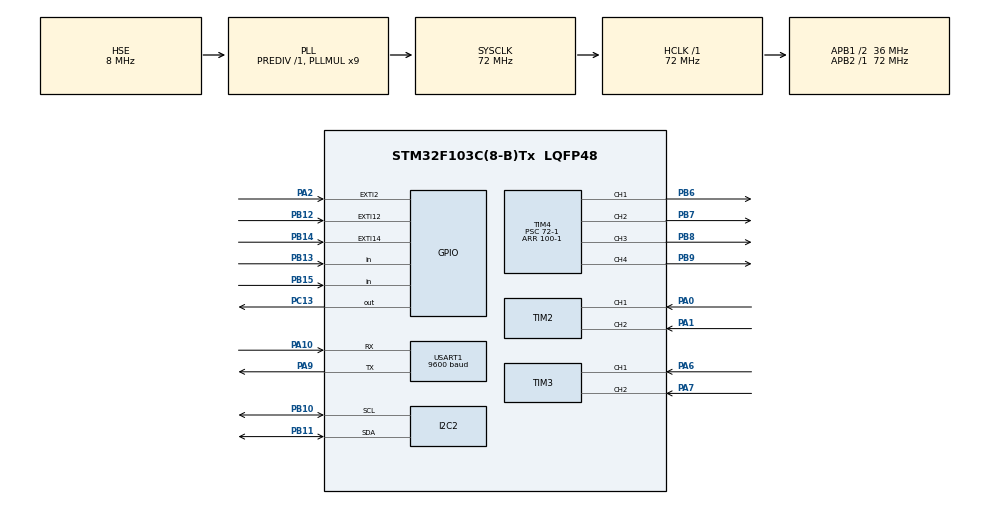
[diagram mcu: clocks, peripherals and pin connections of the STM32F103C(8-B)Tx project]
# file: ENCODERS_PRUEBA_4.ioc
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Mcu.Family=STM32F1
Mcu.Name=STM32F103C(8-B)Tx
Mcu.Package=LQFP48
NVIC.EXTI15_10_IRQn=true\:0\:0\:false\:false\:true\:true\:true
NVIC.EXTI2_IRQn=true\:0\:0\:false\:false\:true\:true\:true
NVIC.PriorityGroup=NVIC_PRIORITYGROUP_4
PA0-WKUP.Signal=S_TIM2_CH1_ETR
PA1.Signal=S_TIM2_CH2
PA10.Mode=Asynchronous
PA10.Signal=USART1_RX
PA13.Mode=Serial_Wire
PA13.Signal=SYS_JTMS-SWDIO
PA14.Mode=Serial_Wire
PA14.Signal=SYS_JTCK-SWCLK
PA2.Signal=GPXTI2
PA6.Signal=S_TIM3_CH1
PA7.Signal=S_TIM3_CH2
PA9.Mode=Asynchronous
PA9.Signal=USART1_TX
PB10.Mode=I2C
PB10.Signal=I2C2_SCL
PB11.Mode=I2C
PB11.Signal=I2C2_SDA
PB12.Signal=GPXTI12
PB13.Signal=GPIO_Input
PB14.Signal=GPXTI14
PB15.Signal=GPIO_Input
PB6.Signal=S_TIM4_CH1
PB7.Signal=S_TIM4_CH2
PB8.Signal=S_TIM4_CH3
PB9.Signal=S_TIM4_CH4
PC13-TAMPER-RTC.Signal=GPIO_Output
PC14-OSC32_IN.Mode=LSE-External-Oscillator
PC14-OSC32_IN.Signal=RCC_OSC32_IN
PC15-OSC32_OUT.Mode=LSE-External-Oscillator
PC15-OSC32_OUT.Signal=RCC_OSC32_OUT
PD0-OSC_IN.Mode=HSE-External-Oscillator
PD0-OSC_IN.Signal=RCC_OSC_IN
PD1-OSC_OUT.Mode=HSE-External-Oscillator
PD1-OSC_OUT.Signal=RCC_OSC_OUT
ProjectManager.HeapSize=0x200
ProjectManager.StackSize=0x400
ProjectManager.TargetToolchain=STM32CubeIDE
RCC.AHBFreq_Value=72000000
RCC.APB1CLKDivider=RCC_HCLK_DIV2
RCC.APB1Freq_Value=36000000
RCC.APB1TimFreq_Value=72000000
RCC.APB2Freq_Value=72000000
RCC.APB2TimFreq_Value=72000000
RCC.HCLKFreq_Value=72000000
RCC.PLLMUL=RCC_PLL_MUL9
RCC.PLLSourceVirtual=RCC_PLLSOURCE_HSE
RCC.SYSCLKFreq_VALUE=72000000
RCC.SYSCLKSource=RCC_SYSCLKSOURCE_PLLCLK
RCC.USBFreq_Value=72000000
SH.S_TIM2_CH1_ETR.0=TIM2_CH1,Encoder_Interface
SH.S_TIM2_CH2.0=TIM2_CH2,Encoder_Interface
SH.S_TIM3_CH1.0=TIM3_CH1,Encoder_Interface
SH.S_TIM3_CH2.0=TIM3_CH2,Encoder_Interface
SH.S_TIM4_CH1.0=TIM4_CH1,PWM Generation1 CH1
SH.S_TIM4_CH2.0=TIM4_CH2,PWM Generation2 CH2
SH.S_TIM4_CH3.0=TIM4_CH3,PWM Generation3 CH3
SH.S_TIM4_CH4.0=TIM4_CH4,PWM Generation4 CH4
TIM2.EncoderMode=TIM_ENCODERMODE_TI12
TIM3.EncoderMode=TIM_ENCODERMODE_TI12
TIM4.Channel-PWM\ Generation1\ CH1=TIM_CHANNEL_1
TIM4.Channel-PWM\ Generation2\ CH2=TIM_CHANNEL_2
TIM4.Channel-PWM\ Generation3\ CH3=TIM_CHANNEL_3
TIM4.Channel-PWM\ Generation4\ CH4=TIM_CHANNEL_4
TIM4.Period=100-1
TIM4.Prescaler=72-1
USART1.BaudRate=9600
USART1.VirtualMode=VM_ASYNC
board=custom

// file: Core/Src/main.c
/* USER CODE BEGIN Header */
/**
  ******************************************************************************
  * @file           : main.c
  * @brief          : Main program body
  ******************************************************************************
  * @attention
  *
  * <h2><center>&copy; Copyright (c) 2025 STMicroelectronics.
  * All rights reserved.</center></h2>
  *
  * This software component is licensed by ST under BSD 3-Clause license,
  * the "License"; You may not use this file except in compliance with the
  * License. You may obtain a copy of the License at:
  *                        opensource.org/licenses/BSD-3-Clause
  *
  ******************************************************************************
  */
/* USER CODE END Header */
#include "main.h"

/* USER CODE BEGIN Includes */
#include <stdio.h>
#include "string.h"
#include <stdlib.h>
#include <math.h>
/* USER CODE END Includes */

I2C_HandleTypeDef hi2c2;

TIM_HandleTypeDef htim2;
TIM_HandleTypeDef htim3;
TIM_HandleTypeDef htim4;

UART_HandleTypeDef huart1;

/* USER CODE BEGIN PV */
//IMU
#define MPU_ADDR         (0x69 << 1)
#define MAG_ADDR         (0x0C << 1)
#define ACCEL_XOUT_H     59
#define MAG_STATUS_1     2
#define MAG_HXL          3
#define MAG_OVERFLOW_BIT 0x08
#define MAG_DATA_READY   0x01

typedef struct {
	float AccXData;
	float AccYData;
	float AccZData;
	float Temp;
	float GyroXData;
	float GyroYData;
	float GyroZData;
	float MagXData;
	float MagYData;
	float MagZData;
} IMU_Data;

typedef struct {
    float offsetX;
    float offsetY;
    float offsetZ;
    float scaleX;
    float scaleY;
    float scaleZ;
} MagCalibration;

typedef struct {
    float offsetZ;
    float scaleZ;
} GyroCalibration;

//IMU
static volatile IMU_Data lecturasIMU;
uint16_t check_flags = 0;

volatile uint8_t mpu_data_ready;
static volatile float dt = 0.1f;

//Magnetometer
MagCalibration magCal;
uint8_t mad_calibrated = 0;
static volatile float heading;

//Girsocopio
static volatile float angle;

char msg[64];

//Giro
float heading_target = 100.0f;
uint8_t giro_completado = 0;

float kp = 1.5f, ki = 0.0f, kd = 0.0f;
float integral = 0.0f, prev_error = 0.0f;

//Fin Dron

extern volatile int32_t encoder3_count;
extern volatile int32_t encoder4_count;
volatile int32_t enc1 = 0;
volatile int32_t enc2 = 0;
uint8_t pwmValue = 80; //VALOR PWM
//uint8_t circunferenciaLlantaCM = 21.5; //Calculado con pi * diametro = pi*68.1mm
#define PULSOS_POR_VUELTA_ENC1 1968.75
#define PULSOS_POR_VUELTA_ENC2 1977
#define PULSOS_POR_VUELTA_ENC3 (492.63)
#define PULSOS_POR_VUELTA_ENC4 (512.25)
#define CIRCUNFERENCIA_LLANTA_CM 21.5  // o la que midas con regla

int32_t enc1_ini = 0;
int32_t enc2_ini = 0;
int32_t enc3_ini = 0;
int32_t enc4_ini = 0;

float avance1 = 0;
float avance2 = 0;
float avance3 = 0;
float avance4 = 0;

int32_t objetivo1 = 0;
int32_t objetivo2 = 0;
int32_t objetivo3 = 0;
int32_t objetivo4 = 0;

uint8_t data = 0b00001100;
char num[17] = "";
float distancia_cm = 100;//ALOR1bn DISTANCIA DESEADA EN CM   !!!!!!!!!!!!!!!!!!!!!!!!!!!!!!!!!!!!!!!!!!!!!!!!!!
uint8_t paso_actual = 0;
uint8_t total_pasos = 4;
uint8_t en_giro = 0;
uint32_t tiempo_inicio_giro = 0;
float angulo_inicio_giro = 0.0f;
float angulo_giro_actual = 0.0f;
float angulo_objetivo_giro =65.0f;  // Puedes cambiarlo a 45.0f, 180.0f, etc.
float heading_inicial = 0;
int8_t sentido_giro = 1; // 1 = izquierda, -1 = derecha

/* USER CODE END PV */

void SystemClock_Config(void);
static void MX_GPIO_Init(void);
static void MX_TIM2_Init(void);
static void MX_TIM3_Init(void);
static void MX_TIM4_Init(void);
static void MX_I2C2_Init(void);
static void MX_USART1_UART_Init(void);
/* USER CODE BEGIN PFP */
void actualizarAvances(void);
float calcularPromedioTrasero(void);
void moverMotores(uint8_t pwm);
void detenerMotores(void);
void enviarDistanciaPromedioUART(float promedio);
	//IMU
void Init_IMU(void);
IMU_Data GetData__stMPU_9255(void);
MagCalibration calibrate_magnetometer(uint16_t samples);
GyroCalibration calibrate_gyroZ(uint16_t samples);
IMU_Data ReadIMU_Average(uint8_t samples);
//Fin IMU
/* USER CODE END PFP */

/* USER CODE BEGIN 0 */
volatile int32_t encoder3_count = 0;
volatile int32_t encoder4_count = 0;

/* USER CODE END 0 */

int main(void)
{

  /* MCU Configuration--------------------------------------------------------*/

  /* Reset of all peripherals, Initializes the Flash interface and the Systick. */
  HAL_Init();

  /* Configure the system clock */
  SystemClock_Config();

  /* Initialize all configured peripherals */
  MX_GPIO_Init();
  MX_TIM2_Init();
  MX_TIM3_Init();
  MX_TIM4_Init();
  MX_I2C2_Init();
  MX_USART1_UART_Init();
  /* USER CODE BEGIN 2 */

  //IMU
  HAL_Delay(100);
  HAL_GPIO_WritePin(GPIOC, GPIO_PIN_13, RESET);
  HAL_Delay(100);
  HAL_GPIO_WritePin(GPIOC, GPIO_PIN_13, SET);
  HAL_Delay(100);
  HAL_GPIO_WritePin(GPIOC, GPIO_PIN_13, RESET);
  HAL_Delay(100);

  Init_IMU();
  HAL_Delay(100);
  GyroCalibration gyroCal = calibrate_gyroZ(500);
  HAL_Delay(100);
  HAL_GPIO_WritePin(GPIOC, GPIO_PIN_13, RESET);
  HAL_Delay(100);
  HAL_GPIO_WritePin(GPIOC, GPIO_PIN_13, SET);
  HAL_Delay(100);
  HAL_GPIO_WritePin(GPIOC, GPIO_PIN_13, RESET);
  HAL_Delay(100);
  HAL_GPIO_WritePin(GPIOC, GPIO_PIN_13, SET);
  HAL_Delay(100);
  HAL_GPIO_WritePin(GPIOC, GPIO_PIN_13, RESET);

  magCal = calibrate_magnetometer(500);

  //Calcular Heading Inicial
  lecturasIMU = GetData__stMPU_9255();
  float mx = (lecturasIMU.MagXData - magCal.offsetX) / magCal.scaleX;
  float my = (lecturasIMU.MagYData - magCal.offsetY) / magCal.scaleY;
  float norm = sqrtf(mx * mx + my * my);
  mx /= norm;
  my /= norm;

  float heading_inicial = atan2f(my, mx) * (180.0f / M_PI);
  if (heading_inicial < 0) heading_inicial += 360.0f;

  // Objetivo: 90 grados más
  heading_target = heading_inicial + 90.0f;
  if (heading_target >= 360.0f) heading_target -= 360.0f;
  //fin imu

  HAL_TIM_Encoder_Start(&htim2, TIM_CHANNEL_ALL);
  HAL_TIM_Encoder_Start(&htim3, TIM_CHANNEL_ALL);
  HAL_TIM_PWM_Start(&htim4, TIM_CHANNEL_1);
  HAL_TIM_PWM_Start(&htim4, TIM_CHANNEL_2);
  HAL_TIM_PWM_Start(&htim4, TIM_CHANNEL_3);
  HAL_TIM_PWM_Start(&htim4, TIM_CHANNEL_4);
  __HAL_TIM_SET_COMPARE(&htim4,TIM_CHANNEL_1,0);
  __HAL_TIM_SET_COMPARE(&htim4,TIM_CHANNEL_2,0);
  __HAL_TIM_SET_COMPARE(&htim4,TIM_CHANNEL_3,0);
  __HAL_TIM_SET_COMPARE(&htim4,TIM_CHANNEL_4,0);
  // Leer posición inicial
  enc1_ini = __HAL_TIM_GET_COUNTER(&htim2); // Encoder 1
  enc2_ini = __HAL_TIM_GET_COUNTER(&htim3); // Encoder 2
  enc3_ini = encoder3_count; // Encoder 3 por interrupción
  enc4_ini = encoder4_count; // Encoder 4 por interrupción

  objetivo1 = distancia_cm;  //Calcular pulsos
  objetivo2 = distancia_cm;
  objetivo3 = distancia_cm;
  objetivo4 = distancia_cm;

  //ELIMINARRRRR DESPUESSSS LO DE ABAJO DE WRITEPINES

  /* USER CODE END 2 */

  /* Infinite loop */
  /* USER CODE BEGIN WHILE */

enc1_ini = __HAL_TIM_GET_COUNTER(&htim2); // Usa TIM2 o el que te interese

while (1)
{
    HAL_GPIO_TogglePin(GPIOC, GPIO_PIN_13);
    lecturasIMU = ReadIMU_Average(10);  // ← 10 lecturas → dt = 0.1 s

    // GIROSCOPIO Y MAGNETÓMETRO
    float gz = (lecturasIMU.GyroZData - gyroCal.offsetZ) / gyroCal.scaleZ;
    gz *= 0.00763f; // Convierte a grados por segundo

    float mx = (lecturasIMU.MagXData - magCal.offsetX) / magCal.scaleX;
    float my = (lecturasIMU.MagYData - magCal.offsetY) / magCal.scaleY;
    float mz = (lecturasIMU.MagZData - magCal.offsetZ) / magCal.scaleZ;

    float norm = sqrtf(mx * mx + my * my + mz * mz);
    if (norm != 0.0f) {
        mx /= norm;
        my /= norm;
        mz /= norm;
    }

    // Cálculo de heading solo informativo (ya no se usa para el giro)
    heading = atan2f(my, mx) * (180.0f / M_PI);
    if (heading < 0) heading += 360.0f;

    actualizarAvances();
    float promedio_cm = calcularPromedioTrasero();

    if (!en_giro) {
        if (promedio_cm < distancia_cm) {
            moverMotores(pwmValue);
        } else {
            detenerMotores();
            en_giro = 1;
            // Fijar dirección de giro manualmente por paso
            if (paso_actual == 0 || paso_actual == 1 || paso_actual == 2 || paso_actual == 3) {
                sentido_giro = 1; // izquierda
            } else {
                sentido_giro = -1; // derecha si algún día quisieras probar
            }

            // Reiniciar ángulo
            angulo_giro_actual = 0.0f;
            tiempo_inicio_giro = HAL_GetTick();

            // Reiniciar integración del giro
            angulo_giro_actual = 0.0f;

            tiempo_inicio_giro = HAL_GetTick();
        }
    } else {
        // 1. Integrar ángulo girado con giroscopio
        angulo_giro_actual += gz * dt;

        // 2. Calcular cuánto falta para completar los 90°
        float error_giro = angulo_objetivo_giro - fabs(angulo_giro_actual);

        if (fabs(error_giro) > 3.0f) {
            // Gira en el sentido adecuado
        	if (sentido_giro == 1) {
        	    // Gira izquierda
        	    __HAL_TIM_SET_COMPARE(&htim4, TIM_CHANNEL_1, pwmValue);
        	    __HAL_TIM_SET_COMPARE(&htim4, TIM_CHANNEL_2, 0);
        	    __HAL_TIM_SET_COMPARE(&htim4, TIM_CHANNEL_3, pwmValue);
        	    __HAL_TIM_SET_COMPARE(&htim4, TIM_CHANNEL_4, 0);
        	} else {
        	    // Gira derecha
        	    __HAL_TIM_SET_COMPARE(&htim4, TIM_CHANNEL_1, 0);
        	    __HAL_TIM_SET_COMPARE(&htim4, TIM_CHANNEL_2, pwmValue);
        	    __HAL_TIM_SET_COMPARE(&htim4, TIM_CHANNEL_3, 0);
        	    __HAL_TIM_SET_COMPARE(&htim4, TIM_CHANNEL_4, pwmValue);
        	}

        } else {
            // Giro completado
            detenerMotores();

            // Esperar 10 segundos
            if (HAL_GetTick() - tiempo_inicio_giro >= 10000) {
                paso_actual++;
                if (paso_actual >= total_pasos) {
                    // Terminó el cuadrado
                    while (1); // Se queda detenido
                }

                // Reiniciar variables de avance
                enc3_ini = encoder3_count;
                enc4_ini = encoder4_count;
                avance3 = 0;
                avance4 = 0;
                en_giro = 0;
            }
        }
    }

    HAL_Delay(10); // para mantener tiempo de ciclo estable
}

    /* USER CODE END WHILE */

}

void SystemClock_Config(void)
{
  RCC_OscInitTypeDef RCC_OscInitStruct = {0};
  RCC_ClkInitTypeDef RCC_ClkInitStruct = {0};

  /** Initializes the RCC Oscillators according to the specified parameters
  * in the RCC_OscInitTypeDef structure.
  */
  RCC_OscInitStruct.OscillatorType = RCC_OSCILLATORTYPE_HSE;
  RCC_OscInitStruct.HSEState = RCC_HSE_ON;
  RCC_OscInitStruct.HSEPredivValue = RCC_HSE_PREDIV_DIV1;
  RCC_OscInitStruct.HSIState = RCC_HSI_ON;
  RCC_OscInitStruct.PLL.PLLState = RCC_PLL_ON;
  RCC_OscInitStruct.PLL.PLLSource = RCC_PLLSOURCE_HSE;
  RCC_OscInitStruct.PLL.PLLMUL = RCC_PLL_MUL9;
  if (HAL_RCC_OscConfig(&RCC_OscInitStruct) != HAL_OK)
  {
    Error_Handler();
  }
  /** Initializes the CPU, AHB and APB buses clocks
  */
  RCC_ClkInitStruct.ClockType = RCC_CLOCKTYPE_HCLK|RCC_CLOCKTYPE_SYSCLK
                              |RCC_CLOCKTYPE_PCLK1|RCC_CLOCKTYPE_PCLK2;
  RCC_ClkInitStruct.SYSCLKSource = RCC_SYSCLKSOURCE_PLLCLK;
  RCC_ClkInitStruct.AHBCLKDivider = RCC_SYSCLK_DIV1;
  RCC_ClkInitStruct.APB1CLKDivider = RCC_HCLK_DIV2;
  RCC_ClkInitStruct.APB2CLKDivider = RCC_HCLK_DIV1;

  if (HAL_RCC_ClockConfig(&RCC_ClkInitStruct, FLASH_LATENCY_2) != HAL_OK)
  {
    Error_Handler();
  }
}

static void MX_I2C2_Init(void)
{

  hi2c2.Instance = I2C2;
  hi2c2.Init.ClockSpeed = 100000;
  hi2c2.Init.DutyCycle = I2C_DUTYCYCLE_2;
  hi2c2.Init.OwnAddress1 = 0;
  hi2c2.Init.AddressingMode = I2C_ADDRESSINGMODE_7BIT;
  hi2c2.Init.DualAddressMode = I2C_DUALADDRESS_DISABLE;
  hi2c2.Init.OwnAddress2 = 0;
  hi2c2.Init.GeneralCallMode = I2C_GENERALCALL_DISABLE;
  hi2c2.Init.NoStretchMode = I2C_NOSTRETCH_DISABLE;
  if (HAL_I2C_Init(&hi2c2) != HAL_OK)
  {
    Error_Handler();
  }

}

static void MX_TIM2_Init(void)
{

  TIM_Encoder_InitTypeDef sConfig = {0};
  TIM_MasterConfigTypeDef sMasterConfig = {0};

  htim2.Instance = TIM2;
  htim2.Init.Prescaler = 0;
  htim2.Init.CounterMode = TIM_COUNTERMODE_UP;
  htim2.Init.Period = 65535;
  htim2.Init.ClockDivision = TIM_CLOCKDIVISION_DIV1;
  htim2.Init.AutoReloadPreload = TIM_AUTORELOAD_PRELOAD_DISABLE;
  sConfig.EncoderMode = TIM_ENCODERMODE_TI12;
  sConfig.IC1Polarity = TIM_ICPOLARITY_RISING;
  sConfig.IC1Selection = TIM_ICSELECTION_DIRECTTI;
  sConfig.IC1Prescaler = TIM_ICPSC_DIV1;
  sConfig.IC1Filter = 0;
  sConfig.IC2Polarity = TIM_ICPOLARITY_RISING;
  sConfig.IC2Selection = TIM_ICSELECTION_DIRECTTI;
  sConfig.IC2Prescaler = TIM_ICPSC_DIV1;
  sConfig.IC2Filter = 0;
  if (HAL_TIM_Encoder_Init(&htim2, &sConfig) != HAL_OK)
  {
    Error_Handler();
  }
  sMasterConfig.MasterOutputTrigger = TIM_TRGO_RESET;
  sMasterConfig.MasterSlaveMode = TIM_MASTERSLAVEMODE_DISABLE;
  if (HAL_TIMEx_MasterConfigSynchronization(&htim2, &sMasterConfig) != HAL_OK)
  {
    Error_Handler();
  }

}

static void MX_TIM3_Init(void)
{

  TIM_Encoder_InitTypeDef sConfig = {0};
  TIM_MasterConfigTypeDef sMasterConfig = {0};

  htim3.Instance = TIM3;
  htim3.Init.Prescaler = 0;
  htim3.Init.CounterMode = TIM_COUNTERMODE_UP;
  htim3.Init.Period = 65535;
  htim3.Init.ClockDivision = TIM_CLOCKDIVISION_DIV1;
  htim3.Init.AutoReloadPreload = TIM_AUTORELOAD_PRELOAD_DISABLE;
  sConfig.EncoderMode = TIM_ENCODERMODE_TI12;
  sConfig.IC1Polarity = TIM_ICPOLARITY_RISING;
  sConfig.IC1Selection = TIM_ICSELECTION_DIRECTTI;
  sConfig.IC1Prescaler = TIM_ICPSC_DIV1;
  sConfig.IC1Filter = 0;
  sConfig.IC2Polarity = TIM_ICPOLARITY_RISING;
  sConfig.IC2Selection = TIM_ICSELECTION_DIRECTTI;
  sConfig.IC2Prescaler = TIM_ICPSC_DIV1;
  sConfig.IC2Filter = 0;
  if (HAL_TIM_Encoder_Init(&htim3, &sConfig) != HAL_OK)
  {
    Error_Handler();
  }
  sMasterConfig.MasterOutputTrigger = TIM_TRGO_RESET;
  sMasterConfig.MasterSlaveMode = TIM_MASTERSLAVEMODE_DISABLE;
  if (HAL_TIMEx_MasterConfigSynchronization(&htim3, &sMasterConfig) != HAL_OK)
  {
    Error_Handler();
  }

}

static void MX_TIM4_Init(void)
{

  TIM_MasterConfigTypeDef sMasterConfig = {0};
  TIM_OC_InitTypeDef sConfigOC = {0};

  htim4.Instance = TIM4;
  htim4.Init.Prescaler = 72-1;
  htim4.Init.CounterMode = TIM_COUNTERMODE_UP;
  htim4.Init.Period = 100-1;
  htim4.Init.ClockDivision = TIM_CLOCKDIVISION_DIV1;
  htim4.Init.AutoReloadPreload = TIM_AUTORELOAD_PRELOAD_DISABLE;
  if (HAL_TIM_PWM_Init(&htim4) != HAL_OK)
  {
    Error_Handler();
  }
  sMasterConfig.MasterOutputTrigger = TIM_TRGO_RESET;
  sMasterConfig.MasterSlaveMode = TIM_MASTERSLAVEMODE_DISABLE;
  if (HAL_TIMEx_MasterConfigSynchronization(&htim4, &sMasterConfig) != HAL_OK)
  {
    Error_Handler();
  }
  sConfigOC.OCMode = TIM_OCMODE_PWM1;
  sConfigOC.Pulse = 0;
  sConfigOC.OCPolarity = TIM_OCPOLARITY_HIGH;
  sConfigOC.OCFastMode = TIM_OCFAST_DISABLE;
  if (HAL_TIM_PWM_ConfigChannel(&htim4, &sConfigOC, TIM_CHANNEL_1) != HAL_OK)
  {
    Error_Handler();
  }
  if (HAL_TIM_PWM_ConfigChannel(&htim4, &sConfigOC, TIM_CHANNEL_2) != HAL_OK)
  {
    Error_Handler();
  }
  if (HAL_TIM_PWM_ConfigChannel(&htim4, &sConfigOC, TIM_CHANNEL_3) != HAL_OK)
  {
    Error_Handler();
  }
  if (HAL_TIM_PWM_ConfigChannel(&htim4, &sConfigOC, TIM_CHANNEL_4) != HAL_OK)
  {
    Error_Handler();
  }
  HAL_TIM_MspPostInit(&htim4);

}

static void MX_USART1_UART_Init(void)
{

  huart1.Instance = USART1;
  huart1.Init.BaudRate = 9600;
  huart1.Init.WordLength = UART_WORDLENGTH_8B;
  huart1.Init.StopBits = UART_STOPBITS_1;
  huart1.Init.Parity = UART_PARITY_NONE;
  huart1.Init.Mode = UART_MODE_TX_RX;
  huart1.Init.HwFlowCtl = UART_HWCONTROL_NONE;
  huart1.Init.OverSampling = UART_OVERSAMPLING_16;
  if (HAL_UART_Init(&huart1) != HAL_OK)
  {
    Error_Handler();
  }

}

static void MX_GPIO_Init(void)
{
  GPIO_InitTypeDef GPIO_InitStruct = {0};

  /* GPIO Ports Clock Enable */
  __HAL_RCC_GPIOC_CLK_ENABLE();
  __HAL_RCC_GPIOD_CLK_ENABLE();
  __HAL_RCC_GPIOA_CLK_ENABLE();
  __HAL_RCC_GPIOB_CLK_ENABLE();

  /*Configure GPIO pin Output Level */
  HAL_GPIO_WritePin(GPIOC, GPIO_PIN_13, GPIO_PIN_RESET);

  /*Configure GPIO pin : PC13 */
  GPIO_InitStruct.Pin = GPIO_PIN_13;
  GPIO_InitStruct.Mode = GPIO_MODE_OUTPUT_PP;
  GPIO_InitStruct.Pull = GPIO_NOPULL;
  GPIO_InitStruct.Speed = GPIO_SPEED_FREQ_LOW;
  HAL_GPIO_Init(GPIOC, &GPIO_InitStruct);

  /*Configure GPIO pin : PA2 */
  GPIO_InitStruct.Pin = GPIO_PIN_2;
  GPIO_InitStruct.Mode = GPIO_MODE_IT_RISING;
  GPIO_InitStruct.Pull = GPIO_NOPULL;
  HAL_GPIO_Init(GPIOA, &GPIO_InitStruct);

  /*Configure GPIO pins : PB12 PB14 */
  GPIO_InitStruct.Pin = GPIO_PIN_12|GPIO_PIN_14;
  GPIO_InitStruct.Mode = GPIO_MODE_IT_RISING;
  GPIO_InitStruct.Pull = GPIO_NOPULL;
  HAL_GPIO_Init(GPIOB, &GPIO_InitStruct);

  /*Configure GPIO pins : PB13 PB15 */
  GPIO_InitStruct.Pin = GPIO_PIN_13|GPIO_PIN_15;
  GPIO_InitStruct.Mode = GPIO_MODE_INPUT;
  GPIO_InitStruct.Pull = GPIO_NOPULL;
  HAL_GPIO_Init(GPIOB, &GPIO_InitStruct);

  /* EXTI interrupt init*/
  HAL_NVIC_SetPriority(EXTI2_IRQn, 0, 0);
  HAL_NVIC_EnableIRQ(EXTI2_IRQn);

  HAL_NVIC_SetPriority(EXTI15_10_IRQn, 0, 0);
  HAL_NVIC_EnableIRQ(EXTI15_10_IRQn);

}

/* USER CODE BEGIN 4 */
void actualizarAvances(void) {
    enc1 = __HAL_TIM_GET_COUNTER(&htim2);
    enc2 = __HAL_TIM_GET_COUNTER(&htim3);

    avance1 = (float)(abs(enc1 - enc1_ini)) / PULSOS_POR_VUELTA_ENC1 * CIRCUNFERENCIA_LLANTA_CM;
    avance2 = (float)(abs(enc2 - enc2_ini)) / PULSOS_POR_VUELTA_ENC2 * CIRCUNFERENCIA_LLANTA_CM;
    avance3 = (float)(abs(encoder3_count - enc3_ini)) / PULSOS_POR_VUELTA_ENC3 * CIRCUNFERENCIA_LLANTA_CM;
    avance4 = (float)(abs(encoder4_count - enc4_ini)) / PULSOS_POR_VUELTA_ENC4 * CIRCUNFERENCIA_LLANTA_CM;
}

float calcularPromedioTrasero(void) {
    return (avance3 + avance4) / 2.0f;
}

void moverMotores(uint8_t pwm) {
    __HAL_TIM_SET_COMPARE(&htim4, TIM_CHANNEL_1, pwm);         // Delantera derecha
    __HAL_TIM_SET_COMPARE(&htim4, TIM_CHANNEL_2, pwm + 3.17);  // Delantera izquierda
    __HAL_TIM_SET_COMPARE(&htim4, TIM_CHANNEL_3, pwm);         // Trasera derecha
    __HAL_TIM_SET_COMPARE(&htim4, TIM_CHANNEL_4, pwm + 3.17);  // Trasera izquierda
}

void detenerMotores(void) {
    __HAL_TIM_SET_COMPARE(&htim4, TIM_CHANNEL_1, 0);
    __HAL_TIM_SET_COMPARE(&htim4, TIM_CHANNEL_2, 0);
    __HAL_TIM_SET_COMPARE(&htim4, TIM_CHANNEL_3, 0);
    __HAL_TIM_SET_COMPARE(&htim4, TIM_CHANNEL_4, 0);
}

void Init_IMU(void) {
    uint8_t data_tx[2], reg, val;
    uint8_t asa[3] = {0};
    uint8_t dev_addr = MPU_ADDR;    // 0x69 << 1
    uint8_t mag_addr = MAG_ADDR;    // 0x0C << 1

    // 0. Reset MPU
    data_tx[0] = 0x6B; data_tx[1] = 0x80;
    if (HAL_I2C_Master_Transmit(&hi2c2, dev_addr, data_tx, 2, 100) == HAL_OK) {
        HAL_Delay(100);
        check_flags |= (1 << 0);
    }

    // 1. Clock source = PLL with X axis gyroscope
    data_tx[0] = 0x6B; data_tx[1] = 0x01;
    if (HAL_I2C_Master_Transmit(&hi2c2, dev_addr, data_tx, 2, 100) == HAL_OK)
        check_flags |= (1 << 1);

    // 2. Gyroscope config = ±250°/s
    data_tx[0] = 0x1B; data_tx[1] = 0x00;
    if (HAL_I2C_Master_Transmit(&hi2c2, dev_addr, data_tx, 2, 100) == HAL_OK)
        check_flags |= (1 << 2);

    // 3. Accelerometer config = ±2g
    data_tx[0] = 0x1C; data_tx[1] = 0x00;
    if (HAL_I2C_Master_Transmit(&hi2c2, dev_addr, data_tx, 2, 100) == HAL_OK)
        check_flags |= (1 << 3);

    // 4. Enable I2C bypass mode (talk directly to magnetometer)
    data_tx[0] = 0x37; data_tx[1] = 0x02;
    if (HAL_I2C_Master_Transmit(&hi2c2, dev_addr, data_tx, 2, 100) == HAL_OK) {
        HAL_Delay(10);
        check_flags |= (1 << 4);
    }

    // 5. Power down magnetometer
    data_tx[0] = 0x0A; data_tx[1] = 0x00;
    if (HAL_I2C_Master_Transmit(&hi2c2, mag_addr, data_tx, 2, 100) == HAL_OK) {
        HAL_Delay(10);
        check_flags |= (1 << 5);
    }

    // 6. Enter fuse ROM access mode
    data_tx[0] = 0x0A; data_tx[1] = 0x0F;
    if (HAL_I2C_Master_Transmit(&hi2c2, mag_addr, data_tx, 2, 100) == HAL_OK) {
        HAL_Delay(10);
        check_flags |= (1 << 6);
    }

    // 7. Read sensitivity adjustment values (ASA)
    reg = 0x10;
    if (HAL_I2C_Master_Transmit(&hi2c2, mag_addr, &reg, 1, 100) == HAL_OK &&
        HAL_I2C_Master_Receive(&hi2c2, mag_addr, asa, 3, 100) == HAL_OK) {
        check_flags |= (1 << 7);
    }

    // 8. Power down again
    data_tx[0] = 0x0A; data_tx[1] = 0x00;
    if (HAL_I2C_Master_Transmit(&hi2c2, mag_addr, data_tx, 2, 100) == HAL_OK) {
        HAL_Delay(10);
        check_flags |= (1 << 8);
    }

    // 9. Set magnetometer to continuous mode 2 (100Hz, 16-bit)
    uint8_t mode_ok = 0;
    for (int i = 0; i < 5; i++) {
        data_tx[0] = 0x0A; data_tx[1] = 0x16;
        HAL_I2C_Master_Transmit(&hi2c2, mag_addr, data_tx, 2, 100);
        HAL_Delay(10);
        reg = 0x0A;
        HAL_I2C_Master_Transmit(&hi2c2, mag_addr, &reg, 1, 100);
        HAL_I2C_Master_Receive(&hi2c2, mag_addr, &val, 1, 100);
        if (val == 0x16) {
            mode_ok = 1;
            break;
        }
    }
    if (mode_ok)
        check_flags |= (1 << 9);

    // 10. Confirm ST1 register responds
    reg = 0x02;
    if (HAL_I2C_Master_Transmit(&hi2c2, mag_addr, &reg, 1, 100) == HAL_OK &&
        HAL_I2C_Master_Receive(&hi2c2, mag_addr, &val, 1, 100) == HAL_OK) {
        check_flags |= (1 << 10);
    }

    // 11. Enable RAW_RDY_EN interrupt (enable data ready interrupt)
    val = 0x01;  // Bit 0 = RAW_RDY_EN
    HAL_I2C_Mem_Write(&hi2c2, MPU_ADDR, 0x38, 1, &val, 1, 100);

    // 12. Configure INT pin: active LOW, open-drain, pulse mode (not latch)

    val = 0x12; // 0x10 (active low) + 0x02 (bypass enabled)
    HAL_I2C_Mem_Write(&hi2c2, MPU_ADDR, 0x37, 1, &val, 1, 100);

    // 13. CONFIG (DLPF) = 3 (Accel/Gyro ~44Hz BW, 1kHz sample)
    data_tx[0] = 0x1A; data_tx[1] = 0x03;
    HAL_I2C_Master_Transmit(&hi2c2, MPU_ADDR, data_tx, 2, 100);

    // 14. SMPLRT_DIV = 9 → 1kHz / (1+9) = 100Hz output rate
    data_tx[0] = 0x19; data_tx[1] = 9;
    HAL_I2C_Master_Transmit(&hi2c2, MPU_ADDR, data_tx, 2, 100);
}

IMU_Data GetData__stMPU_9255(void) {
	uint8_t imuData[14] = {0};
	uint8_t magData[7] = {0};
	uint8_t status1 = 0;
	uint8_t reg;
	int16_t raw[10] = {0};
	IMU_Data result;

	// Leer 14 bytes: accel, temp, gyro
	reg = ACCEL_XOUT_H;
	HAL_I2C_Master_Transmit(&hi2c2, MPU_ADDR, &reg, 1, HAL_MAX_DELAY);
	HAL_I2C_Master_Receive(&hi2c2, MPU_ADDR, imuData, 14, HAL_MAX_DELAY);

	raw[0] = (imuData[0] << 8) | imuData[1];  // AccX
	raw[1] = (imuData[2] << 8) | imuData[3];  // AccY
	raw[2] = (imuData[4] << 8) | imuData[5];  // AccZ
	raw[3] = (imuData[6] << 8) | imuData[7];  // Temp
	raw[4] = (imuData[8] << 8) | imuData[9];  // GyroX
	raw[5] = (imuData[10] << 8) | imuData[11]; // GyroY
	raw[6] = (imuData[12] << 8) | imuData[13]; // GyroZ

	HAL_Delay(10);
	// Verifica si hay datos magnéticos listos
	reg = MAG_STATUS_1;
	HAL_I2C_Master_Transmit(&hi2c2, MAG_ADDR, &reg, 1, HAL_MAX_DELAY);
	HAL_I2C_Master_Receive(&hi2c2, MAG_ADDR, &status1, 1, HAL_MAX_DELAY);

	if ((status1 & MAG_DATA_READY) == MAG_DATA_READY) {
		// Leer datos magnéticos (6 + 1 bytes: HOFL)
		reg = MAG_HXL;
		HAL_I2C_Master_Transmit(&hi2c2, MAG_ADDR, &reg, 1, HAL_MAX_DELAY);
		HAL_I2C_Master_Receive(&hi2c2, MAG_ADDR, magData, 7, HAL_MAX_DELAY);

		// Si no hay overflow
		if (!(magData[6] & MAG_OVERFLOW_BIT)) {
			raw[7] = (magData[1] << 8) | magData[0]; // MagX
			raw[8] = (magData[3] << 8) | magData[2]; // MagY
			raw[9] = (magData[5] << 8) | magData[4]; // MagZ
		}
	}

	// Copiar a estructura
	result.AccXData  = (float)raw[0];
	result.AccYData  = (float)raw[1];
	result.AccZData  = (float)raw[2];
	result.Temp      = (float)raw[3];
	result.GyroXData = (float)raw[4];
	result.GyroYData = (float)raw[5];
	result.GyroZData = (float)raw[6];
	result.MagXData  = (float)raw[7];
	result.MagYData  = (float)raw[8];
	result.MagZData  = (float)raw[9];

	return result;
}

MagCalibration calibrate_magnetometer(uint16_t samples) {
    float minX =  32767, minY =  32767, minZ =  32767;
    float maxX = -32768, maxY = -32768, maxZ = -32768;

    for (uint16_t i = 0; i < samples; i++) {
        IMU_Data lectura = GetData__stMPU_9255();

        if (lectura.MagXData < minX) minX = lectura.MagXData;
        if (lectura.MagYData < minY) minY = lectura.MagYData;
        if (lectura.MagZData < minZ) minZ = lectura.MagZData;

        if (lectura.MagXData > maxX) maxX = lectura.MagXData;
        if (lectura.MagYData > maxY) maxY = lectura.MagYData;
        if (lectura.MagZData > maxZ) maxZ = lectura.MagZData;

        HAL_Delay(10);
    }

    MagCalibration result;
    result.offsetX = (maxX + minX) / 2.0f;
    result.offsetY = (maxY + minY) / 2.0f;
    result.offsetZ = (maxZ + minZ) / 2.0f;

    result.scaleX = (maxX - minX) / 2.0f;
    result.scaleY = (maxY - minY) / 2.0f;
    result.scaleZ = (maxZ - minZ) / 2.0f;

    return result;
}

GyroCalibration calibrate_gyroZ(uint16_t samples) {
    float minZ =  32767;
    float maxZ = -32768;
    float sumZ = 0;

    for (uint16_t i = 0; i < samples; i++) {
        IMU_Data lectura = GetData__stMPU_9255();
        float gyroZ = lectura.GyroZData;

        if (gyroZ < minZ) minZ = gyroZ;
        if (gyroZ > maxZ) maxZ = gyroZ;

        sumZ += gyroZ;
        HAL_Delay(2);
    }

    GyroCalibration result;
    result.offsetZ = sumZ / samples;

    //Scaling removed chat said so
    //result.scaleZ = (maxZ - minZ) / 2.0f;
    result.scaleZ = 1.0f;  // No scaling

    return result;
}

IMU_Data ReadIMU_Average(uint8_t samples) {
    IMU_Data avg = {0};

    for (uint8_t i = 0; i < samples; ) {
        if (mpu_data_ready) {
            mpu_data_ready = 0;

            IMU_Data lectura = GetData__stMPU_9255();
            avg.AccXData += lectura.AccXData;
            avg.AccYData += lectura.AccYData;
            avg.AccZData += lectura.AccZData;
            avg.GyroXData += lectura.GyroXData;
            avg.GyroYData += lectura.GyroYData;
            avg.GyroZData += lectura.GyroZData;
            avg.MagXData  += lectura.MagXData;
            avg.MagYData  += lectura.MagYData;
            avg.MagZData  += lectura.MagZData;
            i++;
        }
    }

    avg.AccXData /= samples;
    avg.AccYData /= samples;
    avg.AccZData /= samples;
    avg.GyroXData /= samples;
    avg.GyroYData /= samples;
    avg.GyroZData /= samples;
    avg.MagXData  /= samples;
    avg.MagYData  /= samples;
    avg.MagZData  /= samples;

    return avg;
}

/* USER CODE END 4 */

void Error_Handler(void)
{
  __disable_irq();
  while (1)
  {
  }
}

/************************ (C) COPYRIGHT STMicroelectronics *****END OF FILE****/
